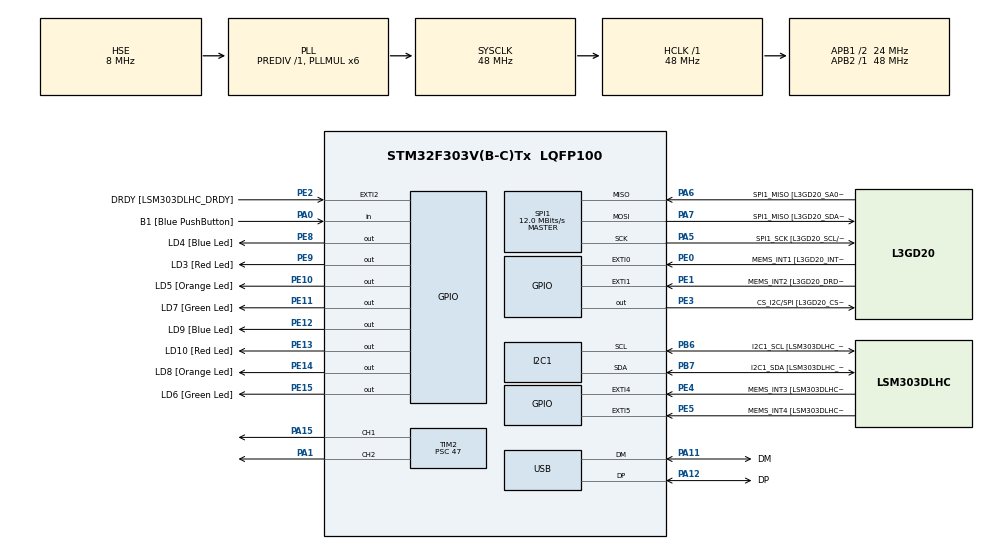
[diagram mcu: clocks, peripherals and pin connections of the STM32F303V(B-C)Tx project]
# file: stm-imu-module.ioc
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I2C1.Timing-I2C=0x2000090E
Mcu.Family=STM32F3
Mcu.Name=STM32F303V(B-C)Tx
Mcu.Package=LQFP100
NVIC.PriorityGroup=NVIC_PRIORITYGROUP_0
PA0.GPIO_Label=B1 [Blue PushButton]
PA0.Signal=GPIO_Input
PA1.Signal=S_TIM2_CH2
PA11.GPIO_Label=DM
PA11.Mode=Device
PA11.Signal=USB_DM
PA12.GPIO_Label=DP
PA12.Mode=Device
PA12.Signal=USB_DP
PA13.GPIO_Label=SWDIO
PA13.Mode=Serial_Wire
PA13.Signal=SYS_JTMS-SWDIO
PA14.GPIO_Label=SWCLK
PA14.Mode=Serial_Wire
PA14.Signal=SYS_JTCK-SWCLK
PA15.Signal=S_TIM2_CH1_ETR
PA5.GPIO_Label=SPI1_SCK [L3GD20_SCL/SPC]
PA5.Mode=Full_Duplex_Master
PA5.Signal=SPI1_SCK
PA6.GPIO_Label=SPI1_MISO [L3GD20_SA0/SDO]
PA6.Mode=Full_Duplex_Master
PA6.Signal=SPI1_MISO
PA7.GPIO_Label=SPI1_MISO [L3GD20_SDA/SDI/SDO]
PA7.Mode=Full_Duplex_Master
PA7.Signal=SPI1_MOSI
PB3.GPIO_Label=SWO
PB3.Signal=SYS_JTDO-TRACESWO
PB6.GPIO_Label=I2C1_SCL [LSM303DLHC_SCL]
PB6.GPIO_Pu=GPIO_PULLUP
PB6.Mode=I2C
PB6.Signal=I2C1_SCL
PB7.GPIO_Label=I2C1_SDA [LSM303DLHC_SDA]
PB7.GPIO_Pu=GPIO_PULLUP
PB7.Mode=I2C
PB7.Signal=I2C1_SDA
PC14-OSC32_IN.GPIO_Label=OSC32_IN
PC14-OSC32_IN.Signal=RCC_OSC32_IN
PC15-OSC32_OUT.GPIO_Label=OSC32_OUT
PC15-OSC32_OUT.Signal=RCC_OSC32_OUT
PE0.GPIO_Label=MEMS_INT1 [L3GD20_INT1]
PE0.GPIO_ModeDefaultEXTI=GPIO_MODE_EVT_RISING
PE0.Signal=GPXTI0
PE1.GPIO_Label=MEMS_INT2 [L3GD20_DRDY/INT2]
PE1.GPIO_ModeDefaultEXTI=GPIO_MODE_EVT_RISING
PE1.Signal=GPXTI1
PE10.GPIO_Label=LD5 [Orange Led]
PE10.Signal=GPIO_Output
PE11.GPIO_Label=LD7 [Green Led]
PE11.Signal=GPIO_Output
PE12.GPIO_Label=LD9 [Blue Led]
PE12.Signal=GPIO_Output
PE13.GPIO_Label=LD10 [Red Led]
PE13.Signal=GPIO_Output
PE14.GPIO_Label=LD8 [Orange Led]
PE14.Signal=GPIO_Output
PE15.GPIO_Label=LD6 [Green Led]
PE15.Signal=GPIO_Output
PE2.GPIO_Label=DRDY [LSM303DLHC_DRDY]
PE2.GPIO_ModeDefaultEXTI=GPIO_MODE_EVT_RISING
PE2.Signal=GPXTI2
PE3.GPIO_Label=CS_I2C/SPI [L3GD20_CS_I2C/SPI]
PE3.Signal=GPIO_Output
PE4.GPIO_Label=MEMS_INT3 [LSM303DLHC_INT1]
PE4.GPIO_ModeDefaultEXTI=GPIO_MODE_EVT_RISING
PE4.Signal=GPXTI4
PE5.GPIO_Label=MEMS_INT4 [LSM303DLHC_INT2]
PE5.GPIO_ModeDefaultEXTI=GPIO_MODE_EVT_RISING
PE5.Signal=GPXTI5
PE8.GPIO_Label=LD4 [Blue Led]
PE8.Signal=GPIO_Output
PE9.GPIO_Label=LD3 [Red Led]
PE9.Signal=GPIO_Output
PF0-OSC_IN.GPIO_Label=OSC_IN
PF0-OSC_IN.Mode=HSE-External-Clock-Source
PF0-OSC_IN.Signal=RCC_OSC_IN
PF1-OSC_OUT.GPIO_Label=OSC_OUT
PF1-OSC_OUT.Signal=RCC_OSC_OUT
ProjectManager.HeapSize=0x200
ProjectManager.StackSize=0x400
ProjectManager.TargetToolchain=STM32CubeIDE
RCC.AHBFreq_Value=48000000
RCC.APB1CLKDivider=RCC_HCLK_DIV2
RCC.APB1Freq_Value=24000000
RCC.APB1TimFreq_Value=48000000
RCC.APB2Freq_Value=48000000
RCC.APB2TimFreq_Value=48000000
RCC.CortexFreq_Value=48000000
RCC.HCLKFreq_Value=48000000
RCC.HSE_VALUE=8000000
RCC.HSI_VALUE=8000000
RCC.LSE_VALUE=32768
RCC.PLLMUL=RCC_PLL_MUL6
RCC.SYSCLKFreq_VALUE=48000000
RCC.SYSCLKSourceVirtual=RCC_SYSCLKSOURCE_PLLCLK
RCC.USBFreq_Value=48000000
SH.S_TIM2_CH1_ETR.0=TIM2_CH1,PWM Generation1 CH1
SH.S_TIM2_CH2.0=TIM2_CH2,PWM Generation2 CH2
SPI1.BaudRatePrescaler=SPI_BAUDRATEPRESCALER_4
SPI1.BaudRatePrescaler-Full_Duplex_Master=SPI_BAUDRATEPRESCALER_2
SPI1.CalculateBaudRate=12.0 MBits/s
SPI1.CalculateBaudRate-Full_Duplex_Master=24.0 MBits/s
SPI1.Direction=SPI_DIRECTION_2LINES
SPI1.Mode=SPI_MODE_MASTER
SPI1.Mode-Full_Duplex_Master=SPI_MODE_MASTER
SPI1.VirtualType=VM_MASTER
TIM2.AutoReloadPreload=TIM_AUTORELOAD_PRELOAD_ENABLE
TIM2.Channel-PWM\ Generation1\ CH1=TIM_CHANNEL_1
TIM2.Channel-PWM\ Generation2\ CH2=TIM_CHANNEL_2
TIM2.Period=20000
TIM2.Prescaler=47
TIM2.Pulse-PWM\ Generation1\ CH1=2000
board=STM32F3DISCOVERY

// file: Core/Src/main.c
/* USER CODE BEGIN Header */
/**
  ******************************************************************************
  * @file           : main.c
  * @brief          : Main program body
  ******************************************************************************
  * @attention
  *
  * Copyright (c) 2023 STMicroelectronics.
  * All rights reserved.
  *
  * This software is licensed under terms that can be found in the LICENSE file
  * in the root directory of this software component.
  * If no LICENSE file comes with this software, it is provided AS-IS.
  *
  ******************************************************************************
  */
/* USER CODE END Header */
#include "main.h"

/* USER CODE BEGIN Includes */
#include <stdio.h>
#include <stdint.h>
#include <stdlib.h>
#include <math.h>

#include "stm32f303xc.h"
#include "led.h"
#include "serial.h"
#include "accelerometer.h"
#include "timer.h"
#include "ptu.h"

/* USER CODE END Includes */

I2C_HandleTypeDef hi2c1;

SPI_HandleTypeDef hspi1;

TIM_HandleTypeDef htim2;

PCD_HandleTypeDef hpcd_USB_FS;

void SystemClock_Config(void);
static void MX_GPIO_Init(void);
static void MX_I2C1_Init(void);
static void MX_SPI1_Init(void);
static void MX_USB_PCD_Init(void);
static void MX_TIM2_Init(void);

/* USER CODE BEGIN 0 */

bool solved = false;
uint16_t delay = 0;
volatile uint16_t vertical_PWM = 1500;
volatile uint16_t horizontal_PWM = 1500;

/* USER CODE END 0 */

int main(void)
{

  /* MCU Configuration--------------------------------------------------------*/

  /* Reset of all peripherals, Initializes the Flash interface and the Systick. */
  HAL_Init();

  /* USER CODE BEGIN Init */

	enable_clocks();
	initialise_board();
	SerialInitialise(BAUD_115200, &USART1_PORT, 0x00);
	TimerInitialise(&TIMER3);  // For combination lock-related timing
	TimerInitialise(&TIMER4);  // For LED-related timing

  /* USER CODE END Init */

  /* Configure the system clock */
  SystemClock_Config();

  /* Initialize all configured peripherals */
  MX_GPIO_Init();
  MX_I2C1_Init();
  MX_SPI1_Init();
  MX_USB_PCD_Init();
  MX_TIM2_Init();
  /* USER CODE BEGIN 2 */

	HAL_TIM_PWM_Start(&htim2, TIM_CHANNEL_1);
	HAL_TIM_PWM_Start(&htim2, TIM_CHANNEL_2);

	stm_accel_init(&hi2c1);

	char buffer[100];

	int16_t zero_errors[] = {0, 0, 0};  // Zero errors in x, y, and z axes
	find_zero_errors(&hi2c1, zero_errors);

	int16_t accel_x, accel_y, accel_z;
	int8_t stm_pitch, stm_roll;
	int8_t ptu_vel_pitch, ptu_vel_yaw;

  /* USER CODE END 2 */

  /* Infinite loop */
  /* USER CODE BEGIN WHILE */
	while (1)
	{
		if (delay)  // Delay when flashing LEDs (prevent LED register being overridden)
		{
			HAL_Delay(delay);
			delay = 0;
		}

		if (!solved)
		{
			read_stm_accel_data(&hi2c1, &accel_x, &accel_y, &accel_z, zero_errors);

			if (get_orientation(accel_x, accel_y, accel_z, &stm_pitch, &stm_roll))
			{
				show_orientation_led(stm_pitch, stm_roll, 6);
				get_velocity(stm_pitch, stm_roll, &ptu_vel_pitch, &ptu_vel_yaw);

//				// Print data to serial port (FOR DEBUGGING ONLY)
//				sprintf(buffer, "accel_x: %6hd, \taccel_y: %6hd, \taccel_z: %6hd \r\n", accel_x, accel_y, accel_z);
//				SerialOutputString(buffer, &USART1_PORT);
//
//				sprintf(buffer, "pitch: %6d, \troll: %6d \r\n", stm_pitch, stm_roll);
//				SerialOutputString(buffer, &USART1_PORT);
//
//				sprintf(buffer, "stm_pitch vel: %6d, \tyaw vel: %6d \r\n\n", ptu_vel_pitch, ptu_vel_yaw);
//				SerialOutputString(buffer, &USART1_PORT);
			}

			//move_ptu(TIM2, &horizontal_PWM, &vertical_PWM, ptu_vel_yaw, ptu_vel_pitch);
			TIM2->CCR1 = 1200;
			TIM2->CCR2 = 1200;

			sprintf(buffer, "horizontal_PWM: %6d, \tvertical_PWM: %6d \r\n", horizontal_PWM, vertical_PWM);
			SerialOutputString(buffer, &USART1_PORT);

			set_lock_compare_time(&TIMER3, ptu_vel_yaw, ptu_vel_pitch, 2000);  // Keep PTU still for 2000 ms to record value

			HAL_Delay(10);
		}

		else
		{
			set_led(0b10101010);
			HAL_Delay(500);
			set_led(0b01010101);
			HAL_Delay(500);
		}

    /* USER CODE END WHILE */

	}
}

void SystemClock_Config(void)
{
  RCC_OscInitTypeDef RCC_OscInitStruct = {0};
  RCC_ClkInitTypeDef RCC_ClkInitStruct = {0};
  RCC_PeriphCLKInitTypeDef PeriphClkInit = {0};

  /** Initializes the RCC Oscillators according to the specified parameters
  * in the RCC_OscInitTypeDef structure.
  */
  RCC_OscInitStruct.OscillatorType = RCC_OSCILLATORTYPE_HSI|RCC_OSCILLATORTYPE_HSE;
  RCC_OscInitStruct.HSEState = RCC_HSE_BYPASS;
  RCC_OscInitStruct.HSEPredivValue = RCC_HSE_PREDIV_DIV1;
  RCC_OscInitStruct.HSIState = RCC_HSI_ON;
  RCC_OscInitStruct.HSICalibrationValue = RCC_HSICALIBRATION_DEFAULT;
  RCC_OscInitStruct.PLL.PLLState = RCC_PLL_ON;
  RCC_OscInitStruct.PLL.PLLSource = RCC_PLLSOURCE_HSE;
  RCC_OscInitStruct.PLL.PLLMUL = RCC_PLL_MUL6;
  if (HAL_RCC_OscConfig(&RCC_OscInitStruct) != HAL_OK)
  {
    Error_Handler();
  }

  /** Initializes the CPU, AHB and APB buses clocks
  */
  RCC_ClkInitStruct.ClockType = RCC_CLOCKTYPE_HCLK|RCC_CLOCKTYPE_SYSCLK
                              |RCC_CLOCKTYPE_PCLK1|RCC_CLOCKTYPE_PCLK2;
  RCC_ClkInitStruct.SYSCLKSource = RCC_SYSCLKSOURCE_PLLCLK;
  RCC_ClkInitStruct.AHBCLKDivider = RCC_SYSCLK_DIV1;
  RCC_ClkInitStruct.APB1CLKDivider = RCC_HCLK_DIV2;
  RCC_ClkInitStruct.APB2CLKDivider = RCC_HCLK_DIV1;

  if (HAL_RCC_ClockConfig(&RCC_ClkInitStruct, FLASH_LATENCY_1) != HAL_OK)
  {
    Error_Handler();
  }
  PeriphClkInit.PeriphClockSelection = RCC_PERIPHCLK_USB|RCC_PERIPHCLK_I2C1;
  PeriphClkInit.I2c1ClockSelection = RCC_I2C1CLKSOURCE_HSI;
  PeriphClkInit.USBClockSelection = RCC_USBCLKSOURCE_PLL;
  if (HAL_RCCEx_PeriphCLKConfig(&PeriphClkInit) != HAL_OK)
  {
    Error_Handler();
  }
}

static void MX_I2C1_Init(void)
{

  hi2c1.Instance = I2C1;
  hi2c1.Init.Timing = 0x2000090E;
  hi2c1.Init.OwnAddress1 = 0;
  hi2c1.Init.AddressingMode = I2C_ADDRESSINGMODE_7BIT;
  hi2c1.Init.DualAddressMode = I2C_DUALADDRESS_DISABLE;
  hi2c1.Init.OwnAddress2 = 0;
  hi2c1.Init.OwnAddress2Masks = I2C_OA2_NOMASK;
  hi2c1.Init.GeneralCallMode = I2C_GENERALCALL_DISABLE;
  hi2c1.Init.NoStretchMode = I2C_NOSTRETCH_DISABLE;
  if (HAL_I2C_Init(&hi2c1) != HAL_OK)
  {
    Error_Handler();
  }

  /** Configure Analogue filter
  */
  if (HAL_I2CEx_ConfigAnalogFilter(&hi2c1, I2C_ANALOGFILTER_ENABLE) != HAL_OK)
  {
    Error_Handler();
  }

  /** Configure Digital filter
  */
  if (HAL_I2CEx_ConfigDigitalFilter(&hi2c1, 0) != HAL_OK)
  {
    Error_Handler();
  }

}

static void MX_SPI1_Init(void)
{

  /* SPI1 parameter configuration*/
  hspi1.Instance = SPI1;
  hspi1.Init.Mode = SPI_MODE_MASTER;
  hspi1.Init.Direction = SPI_DIRECTION_2LINES;
  hspi1.Init.DataSize = SPI_DATASIZE_4BIT;
  hspi1.Init.CLKPolarity = SPI_POLARITY_LOW;
  hspi1.Init.CLKPhase = SPI_PHASE_1EDGE;
  hspi1.Init.NSS = SPI_NSS_SOFT;
  hspi1.Init.BaudRatePrescaler = SPI_BAUDRATEPRESCALER_4;
  hspi1.Init.FirstBit = SPI_FIRSTBIT_MSB;
  hspi1.Init.TIMode = SPI_TIMODE_DISABLE;
  hspi1.Init.CRCCalculation = SPI_CRCCALCULATION_DISABLE;
  hspi1.Init.CRCPolynomial = 7;
  hspi1.Init.CRCLength = SPI_CRC_LENGTH_DATASIZE;
  hspi1.Init.NSSPMode = SPI_NSS_PULSE_ENABLE;
  if (HAL_SPI_Init(&hspi1) != HAL_OK)
  {
    Error_Handler();
  }

}

static void MX_TIM2_Init(void)
{

  TIM_MasterConfigTypeDef sMasterConfig = {0};
  TIM_OC_InitTypeDef sConfigOC = {0};

  htim2.Instance = TIM2;
  htim2.Init.Prescaler = 47;
  htim2.Init.CounterMode = TIM_COUNTERMODE_UP;
  htim2.Init.Period = 20000;
  htim2.Init.ClockDivision = TIM_CLOCKDIVISION_DIV1;
  htim2.Init.AutoReloadPreload = TIM_AUTORELOAD_PRELOAD_ENABLE;
  if (HAL_TIM_PWM_Init(&htim2) != HAL_OK)
  {
    Error_Handler();
  }
  sMasterConfig.MasterOutputTrigger = TIM_TRGO_RESET;
  sMasterConfig.MasterSlaveMode = TIM_MASTERSLAVEMODE_DISABLE;
  if (HAL_TIMEx_MasterConfigSynchronization(&htim2, &sMasterConfig) != HAL_OK)
  {
    Error_Handler();
  }
  sConfigOC.OCMode = TIM_OCMODE_PWM1;
  sConfigOC.Pulse = 2000;
  sConfigOC.OCPolarity = TIM_OCPOLARITY_HIGH;
  sConfigOC.OCFastMode = TIM_OCFAST_DISABLE;
  if (HAL_TIM_PWM_ConfigChannel(&htim2, &sConfigOC, TIM_CHANNEL_1) != HAL_OK)
  {
    Error_Handler();
  }
  if (HAL_TIM_PWM_ConfigChannel(&htim2, &sConfigOC, TIM_CHANNEL_2) != HAL_OK)
  {
    Error_Handler();
  }
  HAL_TIM_MspPostInit(&htim2);

}

static void MX_USB_PCD_Init(void)
{

  hpcd_USB_FS.Instance = USB;
  hpcd_USB_FS.Init.dev_endpoints = 8;
  hpcd_USB_FS.Init.speed = PCD_SPEED_FULL;
  hpcd_USB_FS.Init.phy_itface = PCD_PHY_EMBEDDED;
  hpcd_USB_FS.Init.low_power_enable = DISABLE;
  hpcd_USB_FS.Init.battery_charging_enable = DISABLE;
  if (HAL_PCD_Init(&hpcd_USB_FS) != HAL_OK)
  {
    Error_Handler();
  }

}

static void MX_GPIO_Init(void)
{
  GPIO_InitTypeDef GPIO_InitStruct = {0};

  /* GPIO Ports Clock Enable */
  __HAL_RCC_GPIOE_CLK_ENABLE();
  __HAL_RCC_GPIOC_CLK_ENABLE();
  __HAL_RCC_GPIOF_CLK_ENABLE();
  __HAL_RCC_GPIOA_CLK_ENABLE();
  __HAL_RCC_GPIOB_CLK_ENABLE();

  /*Configure GPIO pin Output Level */
  HAL_GPIO_WritePin(GPIOE, CS_I2C_SPI_Pin|LD4_Pin|LD3_Pin|LD5_Pin
                          |LD7_Pin|LD9_Pin|LD10_Pin|LD8_Pin
                          |LD6_Pin, GPIO_PIN_RESET);

  /*Configure GPIO pins : DRDY_Pin MEMS_INT3_Pin MEMS_INT4_Pin MEMS_INT1_Pin
                           MEMS_INT2_Pin */
  GPIO_InitStruct.Pin = DRDY_Pin|MEMS_INT3_Pin|MEMS_INT4_Pin|MEMS_INT1_Pin
                          |MEMS_INT2_Pin;
  GPIO_InitStruct.Mode = GPIO_MODE_EVT_RISING;
  GPIO_InitStruct.Pull = GPIO_NOPULL;
  HAL_GPIO_Init(GPIOE, &GPIO_InitStruct);

  /*Configure GPIO pins : CS_I2C_SPI_Pin LD4_Pin LD3_Pin LD5_Pin
                           LD7_Pin LD9_Pin LD10_Pin LD8_Pin
                           LD6_Pin */
  GPIO_InitStruct.Pin = CS_I2C_SPI_Pin|LD4_Pin|LD3_Pin|LD5_Pin
                          |LD7_Pin|LD9_Pin|LD10_Pin|LD8_Pin
                          |LD6_Pin;
  GPIO_InitStruct.Mode = GPIO_MODE_OUTPUT_PP;
  GPIO_InitStruct.Pull = GPIO_NOPULL;
  GPIO_InitStruct.Speed = GPIO_SPEED_FREQ_LOW;
  HAL_GPIO_Init(GPIOE, &GPIO_InitStruct);

  /*Configure GPIO pin : B1_Pin */
  GPIO_InitStruct.Pin = B1_Pin;
  GPIO_InitStruct.Mode = GPIO_MODE_INPUT;
  GPIO_InitStruct.Pull = GPIO_NOPULL;
  HAL_GPIO_Init(B1_GPIO_Port, &GPIO_InitStruct);

}

void Error_Handler(void)
{
  __disable_irq();
  while (1)
  {
  }
}
